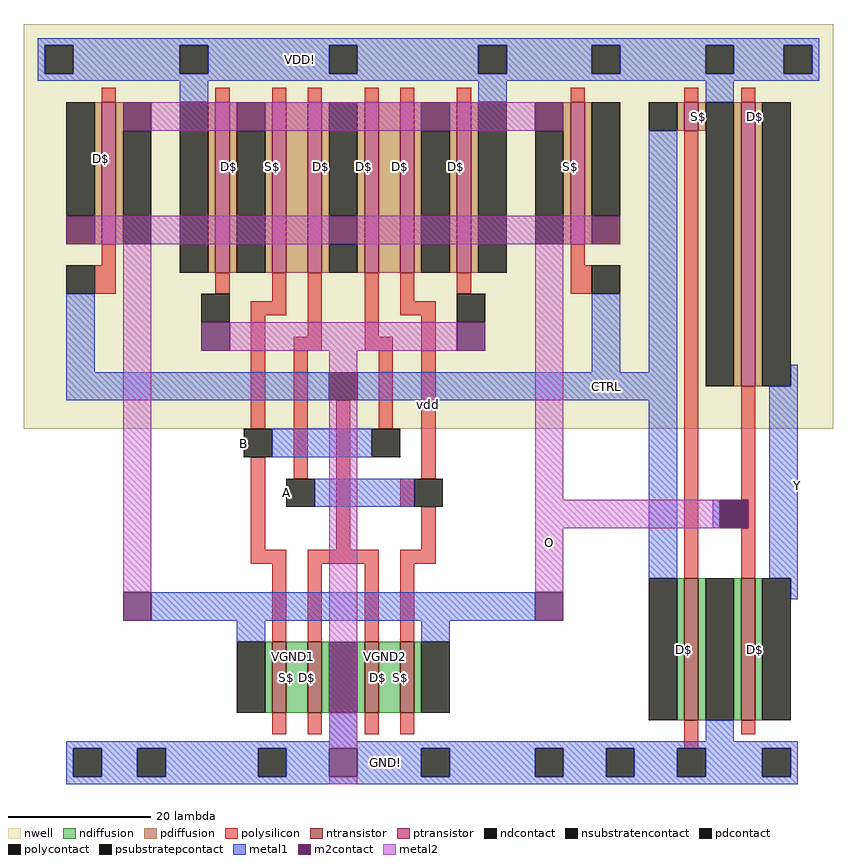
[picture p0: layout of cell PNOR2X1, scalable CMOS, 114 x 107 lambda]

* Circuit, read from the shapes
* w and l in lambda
.subckt PNOR2X1 VDD! GND! B A Y
M1 VGND1 B O GND! nfet w=10 l=2
M2 GND! CTRL VGND1 GND! nfet w=10 l=2
M3 VGND2 CTRL GND! GND! nfet w=10 l=2
M4 O A VGND2 GND! nfet w=10 l=2
M5 GND! GND! CTRL GND! nfet w=20 l=2
M6 Y O GND! GND! nfet w=20 l=2
M7 VVDD CTRL O VDD! pfet w=20 l=2 m=2
M8 VVDD GND! VDD! VDD! pfet w=24 l=2 m=2
M9 n1 B VVDD VDD! pfet w=24 l=2
M10 O A n1 VDD! pfet w=24 l=2
M11 n2 B O VDD! pfet w=24 l=2
M12 VVDD A n2 VDD! pfet w=24 l=2
M13 VDD! GND! CTRL VDD! pfet w=4 l=2
M14 Y O VDD! VDD! pfet w=40 l=2
.ends

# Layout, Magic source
magic
tech scmos
<< nwell >>
rect 0 50 114 107
<< ntransistor >>
rect 35 10 37 20
rect 40 10 42 20
rect 48 10 50 20
rect 53 10 55 20
rect 93 9 95 29
rect 101 9 103 29
<< ptransistor >>
rect 11 76 13 96
rect 27 72 29 96
rect 35 72 37 96
rect 40 72 42 96
rect 48 72 50 96
rect 53 72 55 96
rect 61 72 63 96
rect 77 76 79 96
rect 93 92 95 96
rect 101 56 103 96
<< ndiffusion >>
rect 34 10 35 20
rect 37 10 40 20
rect 42 10 43 20
rect 47 10 48 20
rect 50 10 53 20
rect 55 10 56 20
rect 92 9 93 29
rect 95 9 96 29
rect 100 9 101 29
rect 103 9 104 29
<< pdiffusion >>
rect 10 80 11 96
rect 6 76 11 80
rect 13 92 18 96
rect 13 76 14 92
rect 26 72 27 96
rect 29 92 35 96
rect 29 72 30 92
rect 34 72 35 92
rect 37 72 40 96
rect 42 80 43 96
rect 47 80 48 96
rect 42 76 48 80
rect 42 72 43 76
rect 47 72 48 76
rect 50 72 53 96
rect 55 92 61 96
rect 55 72 56 92
rect 60 72 61 92
rect 63 72 64 96
rect 72 92 77 96
rect 76 76 77 92
rect 79 80 80 96
rect 92 92 93 96
rect 95 92 96 96
rect 79 76 84 80
rect 100 56 101 96
rect 103 56 104 96
<< ndcontact >>
rect 30 10 34 20
rect 43 10 47 20
rect 56 10 60 20
rect 88 9 92 29
rect 96 9 100 29
rect 104 9 108 29
<< pdcontact >>
rect 6 80 10 96
rect 14 76 18 92
rect 22 72 26 96
rect 30 72 34 92
rect 43 80 47 96
rect 43 72 47 76
rect 56 72 60 92
rect 64 72 68 96
rect 72 76 76 92
rect 80 80 84 96
rect 88 92 92 96
rect 96 56 100 96
rect 104 56 108 96
<< psubstratepcontact >>
rect 7 1 11 5
rect 16 1 20 5
rect 33 1 37 5
rect 56 1 60 5
rect 72 1 76 5
rect 82 1 86 5
rect 104 1 108 5
<< nsubstratencontact >>
rect 3 100 7 104
rect 22 100 26 104
rect 43 100 47 104
rect 64 100 68 104
rect 80 100 84 104
rect 96 100 100 104
rect 107 100 111 104
<< polysilicon >>
rect 11 96 13 98
rect 27 96 29 98
rect 35 96 37 98
rect 40 96 42 98
rect 48 96 50 98
rect 53 96 55 98
rect 61 96 63 98
rect 77 96 79 98
rect 93 96 95 98
rect 101 96 103 98
rect 11 73 13 76
rect 10 69 13 73
rect 77 73 79 76
rect 27 69 29 72
rect 35 68 37 72
rect 32 66 37 68
rect 32 50 34 66
rect 40 63 42 72
rect 38 61 42 63
rect 48 63 50 72
rect 53 68 55 72
rect 61 69 63 72
rect 77 69 80 73
rect 53 66 58 68
rect 48 61 52 63
rect 32 33 34 46
rect 38 43 40 61
rect 44 33 46 54
rect 50 50 52 61
rect 56 43 58 66
rect 53 39 55 43
rect 56 33 58 39
rect 32 31 37 33
rect 35 20 37 31
rect 40 31 50 33
rect 40 20 42 31
rect 48 20 50 31
rect 53 31 58 33
rect 53 20 55 31
rect 93 29 95 92
rect 101 40 103 56
rect 102 36 103 40
rect 101 29 103 36
rect 35 7 37 10
rect 40 7 42 10
rect 48 7 50 10
rect 53 7 55 10
rect 93 5 95 9
rect 101 7 103 9
<< polycontact >>
rect 6 69 10 73
rect 25 65 29 69
rect 80 69 84 73
rect 31 46 35 50
rect 43 54 47 58
rect 37 39 41 43
rect 49 46 53 50
rect 61 65 65 69
rect 55 39 59 43
rect 98 36 102 40
rect 92 1 96 5
<< metal1 >>
rect 2 104 112 105
rect 2 100 3 104
rect 7 100 22 104
rect 26 100 43 104
rect 47 100 64 104
rect 68 100 80 104
rect 84 100 96 104
rect 100 100 107 104
rect 111 100 112 104
rect 2 99 112 100
rect 22 96 26 99
rect 64 96 68 99
rect 96 96 100 99
rect 6 58 10 69
rect 80 58 84 69
rect 88 58 92 92
rect 6 54 43 58
rect 47 54 92 58
rect 108 56 109 59
rect 35 46 49 50
rect 41 39 55 43
rect 88 29 92 54
rect 97 36 98 40
rect 105 29 109 56
rect 18 23 72 27
rect 30 20 34 23
rect 56 20 60 23
rect 43 6 47 10
rect 108 26 109 29
rect 96 6 100 9
rect 6 5 109 6
rect 6 1 7 5
rect 11 1 16 5
rect 20 1 33 5
rect 37 1 43 5
rect 47 1 56 5
rect 60 1 72 5
rect 76 1 82 5
rect 86 1 92 5
rect 96 1 104 5
rect 108 1 109 5
rect 6 0 109 1
<< m2contact >>
rect 6 76 10 80
rect 14 92 18 96
rect 30 92 34 96
rect 43 76 47 80
rect 56 92 60 96
rect 72 92 76 96
rect 80 76 84 80
rect 25 61 29 65
rect 61 61 65 65
rect 98 36 102 40
rect 14 23 18 27
rect 72 23 76 27
rect 43 1 47 5
<< metal2 >>
rect 18 92 30 96
rect 34 92 56 96
rect 60 92 72 96
rect 10 76 43 80
rect 47 76 80 80
rect 14 27 18 76
rect 29 61 61 65
rect 43 5 47 61
rect 72 40 76 76
rect 72 36 98 40
rect 72 27 76 36
rect 43 0 47 1
<< labels >>
rlabel metal1 51 3 51 3 1 GND!
port 2 n power bidirectional
rlabel metal1 39 102 39 102 1 VDD!
port 1 n power bidirectional
rlabel ndiffusion 38 18 38 18 1 VGND1
rlabel ndiffusion 51 18 51 18 1 VGND2
rlabel ntransistor 50 15 50 15 1 D$
rlabel ntransistor 40 15 40 15 1 D$
rlabel ntransistor 48 15 48 15 1 S$
rlabel ntransistor 42 15 42 15 1 S$
rlabel space 5 0 109 107 1 vdd
rlabel space 5 0 109 107 1 gnd
rlabel ntransistor 37 15 37 15 1 S$
rlabel ntransistor 35 15 35 15 1 D$
rlabel ntransistor 53 15 53 15 1 S$
rlabel ntransistor 55 15 55 15 1 D$
rlabel ptransistor 35 87 35 87 1 S$
rlabel ptransistor 37 87 37 87 1 D$
rlabel ptransistor 53 87 53 87 1 D$
rlabel ptransistor 55 87 55 87 1 S$
rlabel polycontact 31 46 31 50 1 B
port 3 n signal input
rlabel ptransistor 48 87 48 87 1 D$
rlabel ptransistor 42 87 42 87 1 D$
rlabel ptransistor 40 87 40 87 1 S$
rlabel ptransistor 50 87 50 87 1 S$
rlabel ptransistor 29 87 29 87 1 D$
rlabel ptransistor 27 87 27 87 1 S$
rlabel ptransistor 61 87 61 87 1 D$
rlabel ptransistor 63 87 63 87 1 S$
rlabel ptransistor 11 88 11 88 1 D$
rlabel ptransistor 13 88 13 88 1 S$
rlabel ntransistor 93 19 93 19 1 D$
rlabel ntransistor 95 19 95 19 1 S$
rlabel ptransistor 95 94 95 94 1 S$
rlabel ptransistor 93 94 93 94 1 D$
rlabel ntransistor 103 19 103 19 1 D$
rlabel ntransistor 101 19 101 19 1 S$
rlabel ptransistor 103 94 103 94 1 D$
rlabel ptransistor 101 94 101 94 1 S$
rlabel ptransistor 77 87 77 87 1 S$
rlabel ptransistor 79 87 79 87 1 D$
rlabel pdcontact 74 86 74 86 1 VVDD
rlabel metal1 82 56 82 56 1 CTRL
rlabel polycontact 37 39 37 43 1 A
port 4 n signal input
rlabel metal2 74 34 74 34 1 O
rlabel metal1 109 40 109 44 1 Y
port 5 n signal output
<< end >>
